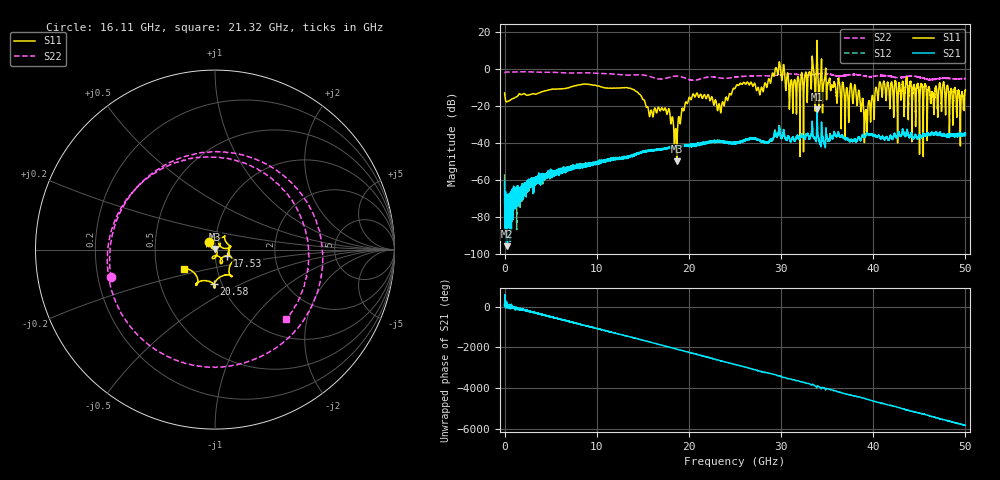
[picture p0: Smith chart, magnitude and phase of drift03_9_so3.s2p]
!Created with skrf (http://scikit-rf.org).
# Hz S RI R 50.0
!freq ReS11 ImS11 ReS21 ImS21 ReS12 ImS12 ReS22 ImS22
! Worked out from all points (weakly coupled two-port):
!   10001 points, 300 kHz to 50 GHz, reference 50 ohm
!   highest |S21| = -21.59 dB at 33.9 GHz (marker M1); lowest = -95.7 dB at 300.3 MHz (marker M2)
!   lowest |S11| = -49.7 dB at 18.69 GHz (marker M3), VSWR 1.01, Z = 49.9 + j0.29 ohm
!   |S11| at or under -10 dB: start of sweep to 6.945 GHz; 13.32 GHz to 25.04 GHz (11.73 GHz wide, 61.1 % of centre); 38.07 GHz to 40.26 GHz (2.192 GHz wide, 5.6 % of centre) (the widest 3 of 59)
!   |S22| runs from -5.9 to -1.3 dB; largest |S21 - S12| = 0.008
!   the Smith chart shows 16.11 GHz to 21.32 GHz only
!   S11 on the Smith chart (normalised r, x): 16.11 GHz: 0.93, +0.07; 17.53 GHz: 1.14, -0.08; 20.58 GHz: 0.92, -0.37; 21.32 GHz: 0.69, -0.16
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300000  -0.21 -0.0922  -0.000623 0.000714  -0.000634 0.0013  -0.7655 -0.1793
3.002982e8  -0.1046 0.0834  -1.06e-06 1.63e-05  6.45e-05 0.000116  -0.6967 0.4827
1.535291e9  0.2046 0.0435  -0.000105 -0.000427  -8.03e-05 -0.000503  0.8486 0.0766
3.160281e9  -0.2186 -0.00856  4.04e-05 0.000799  9.42e-05 0.000869  -0.8449 -0.0248
4.665272e9  0.2638 0.0608  -0.000113 -0.00131  2.16e-05 -0.00165  0.8181 0.1416
6.355262e9  -0.3 -0.00269  0.000492 0.00201  0.000639 0.00182  -0.804 -0.0493
8.33525e9  0.2841 -0.2679  -0.00247 -0.000996  -0.00241 -0.000834  0.6007 -0.5361
1.043024e10  -0.042 0.3322  0.00252 -0.00176  0.00258 -0.00199  -0.037 0.7708
1.201523e10  0.007 -0.3085  -0.00291 0.00267  -0.00258 0.00256  0.1052 -0.7293
1.372522e10  -0.0255 0.2987  0.00255 -0.00375  0.00254 -0.0036  -0.0659 0.6939
1.61102e10  -0.0338 0.0397  0.00623 0.00205  0.006 0.00226  -0.579 -0.1548
1.66702e10  0.0537 0.0759  0.00468 -0.00512  0.00468 -0.00484  -0.3553 0.4209
1.752519e10  0.0678 -0.0338  -0.00594 -0.00367  -0.00619 -0.00386  0.4946 0.2895
1.869019e10  -0.00148 0.00291  0.00258 0.00796  0.00255 0.00784  -0.0817 -0.6496
2.057518e10  -0.00708 -0.1924  -0.00746 -0.00394  -0.00786 -0.00422  0.376 0.338
2.131517e10  -0.1726 -0.1079  -0.00556 0.00779  -0.00505 0.00799  0.3972 -0.3858
2.500015e10  -0.2973 -0.0473  0.00799 0.00667  0.00745 0.00614  -0.1879 -0.5844
3.213011e10  0.2082 0.3658  -4.54e-05 -0.0149  -0.000654 -0.0151  -0.6925 0.0128
3.33351e10  0.4314 -0.9999  -0.00462 0.0252  -0.00601 0.0242  0.6123 0.3644
3.39001e10  1.465 -5.553  0.0753 0.0357  0.0704 0.0299  0.6749 -0.3246
4.167005e10  -0.2096 0.2845  -0.0113 -0.00449  -0.0114 -0.00485  -0.6525 -0.0533
5e10  -0.149 -0.2222  0.00285 -0.0166  0.000312 -0.0163  0.4645 -0.319
